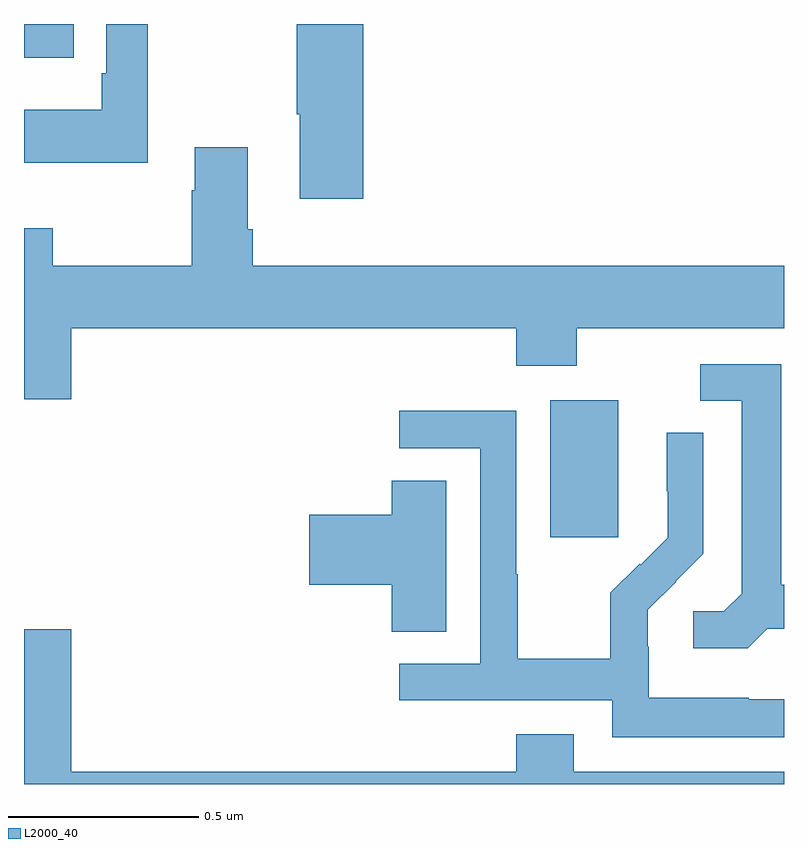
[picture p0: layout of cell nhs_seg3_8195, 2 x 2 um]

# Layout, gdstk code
import gdstk
lib = gdstk.Library(unit=1e-6, precision=1e-09)
def R(c, l, rs):  # rectangles x0, y0, x1, y1
    for r in rs: c.add(gdstk.rectangle(r[:2], r[2:], *l))
def P(c, l, *ps):  # polygons
    for p in ps: c.add(gdstk.Polygon(p, *l))
L2000_40 = (2000, 40)

nhs_seg3_8195 = lib.new_cell('nhs_seg3_8195')
R(nhs_seg3_8195, L2000_40, [(214.385,683.049,214.564,683.41), (213,684.311,213.131,684.4)])
P(nhs_seg3_8195, L2000_40, [(213.893,684.4),(213.718,684.4),(213.718,684.163),(213.725,684.163),(213.725,683.94),(213.893,683.94)],
  [(213.325,684.4),(213.216,684.4),(213.216,684.271),(213.204,684.271),(213.204,684.175),(213,684.175),(213,684.035),(213.325,684.035)],
  [(213.124,683.6),(214.295,683.6),(214.295,683.501),(214.455,683.501),(214.455,683.6),(215,683.6),(215,683.764),(213.602,683.764),(213.602,683.86),(213.589,683.86),(213.589,684.076),(213.449,684.076),(213.449,683.963),(213.442,683.963),(213.442,683.764),(213.075,683.764),(213.075,683.863),(213,683.863),(213,683.412),(213.124,683.412)],
  [(214.956,682.809),(215,682.809),(215,682.925),(214.993,682.925),(214.993,683.505),(214.779,683.505),(214.779,683.409),(214.889,683.409),(214.889,682.901),(214.842,682.854),(214.761,682.854),(214.761,682.757),(214.904,682.757)],
  [(215,682.623),(214.907,682.623),(214.907,682.627),(214.644,682.627),(214.644,682.761),(214.642,682.761),(214.642,682.858),(214.716,682.932),(214.715,682.933),(214.788,683.006),(214.788,683.324),(214.692,683.324),(214.692,683.17),(214.694,683.17),(214.694,683.048),(214.623,682.977),(214.62,682.98),(214.543,682.903),(214.543,682.729),(214.299,682.729),(214.299,682.952),(214.296,682.952),(214.296,683.382),(213.987,683.382),(213.987,683.283),(214.2,683.283),(214.2,682.716),(213.987,682.716),(213.987,682.62),(214.548,682.62),(214.548,682.523),(215,682.523)],
  [(214.111,683.198),(213.968,683.198),(213.968,683.108),(213.75,683.108),(213.75,682.925),(213.968,682.925),(213.968,682.801),(214.111,682.801)],
  [(215,682.432),(214.447,682.432),(214.447,682.531),(214.295,682.531),(214.295,682.432),(213.124,682.432),(213.124,682.807),(213,682.807),(213,682.4),(215,682.4)])

lib.write_gds('nhs_seg3_8195.gds')
